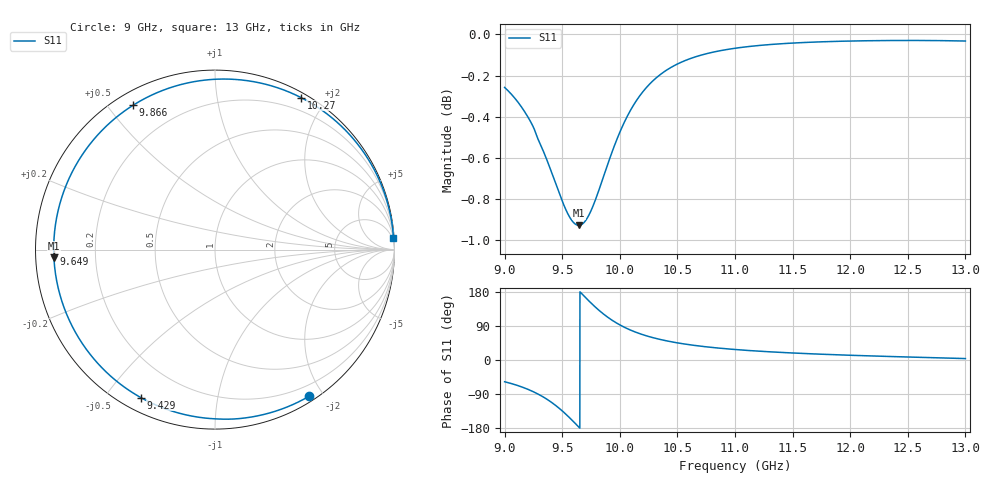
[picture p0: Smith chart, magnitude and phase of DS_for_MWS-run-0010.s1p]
! TOUCHSTONE file generated by CST DESIGN STUDIO
! Date and time: Tue Feb  4 13:32:40 2025
! Project name: C:\Work\MatlabApps\UnitCellOptimizationMatlab\CST\unitcell.cst
! Tree item: Tasks\Sweep1\SPara1\S-Parameters
! Header version: 2024
! Port assignment regex: !\s*Touchstone port\s*([0-9]+)\s*=\s*(CST MWS port|CST DES external port|CST DES block port)\s*(.+)\s* \(\"(.*)\"\)(\s*mode\s*([0-9]+))?.*
! Touchstone port assignment:
! Touchstone port 1 = CST DES external port 1 ("")
# GHz S MA R 50
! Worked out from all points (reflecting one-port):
!   4001 points, 9 GHz to 13 GHz, reference 50 ohm
!   lowest |S11| = -0.9 dB at 9.644 GHz (marker M1), VSWR 18.73, Z = 2.67 - j1.33 ohm
!   phase of S11 starts at -57 deg and turns -299 deg over the sweep
!   S11 on the Smith chart (normalised r, x): 9 GHz: 0.06, -1.83; 9.429 GHz: 0.06, -0.62; 9.649 GHz: 0.05, -0.01; 9.866 GHz: 0.05, +0.58; 10.27 GHz: 0.05, +1.71; 13 GHz: 2, +30
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9  0.9708 -57.3
9.108  0.9634 -66.8
9.216  0.9534 -79.2
9.335  0.9369 -97.5
9.384  0.9295 -106.9
9.429  0.9222 -116.6
9.5  0.911 -134.3
9.538  0.9058 -144.8
9.578  0.9015 -156.5
9.644  0.8986 -177.0
9.649  0.8987 -178.5
9.694  0.9004 167.4
9.742  0.905 152.8
9.805  0.9142 134.9
9.866  0.9248 119.5
9.929  0.9357 105.8
10  0.9467 92.7
10.064  0.9551 82.9
10.128  0.9621 74.6
10.268  0.9732 60.5
10.376  0.9789 52.5
10.5  0.9836 45.2
10.719  0.9887 35.9
11  0.9923 27.7
11.5  0.9952 18.5
12  0.9963 12.5
12.5  0.9966 7.9
13  0.9963 3.8
